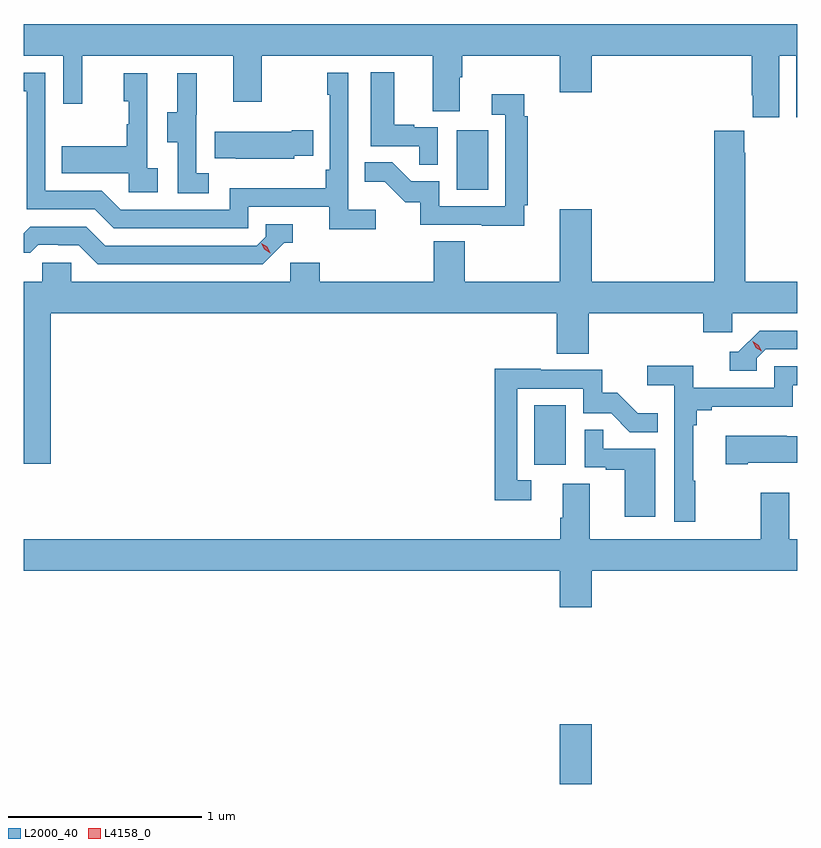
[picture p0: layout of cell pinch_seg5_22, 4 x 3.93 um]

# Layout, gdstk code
import gdstk
lib = gdstk.Library(unit=1e-6, precision=1e-09)
def R(c, l, rs):  # rectangles x0, y0, x1, y1
    for r in rs: c.add(gdstk.rectangle(r[:2], r[2:], *l))
def P(c, l, *ps):  # polygons
    for p in ps: c.add(gdstk.Polygon(p, *l))
L2000_40 = (2000, 40)
L4158_0 = (4158, 0)

pinch_seg5_22 = lib.new_cell('pinch_seg5_22')
R(pinch_seg5_22, L2000_40, [(1142.03,908.938,1142.194,909.247), (1141.898,910.59,1142.062,910.897), (1141.496,912.012,1141.66,912.319)])
P(pinch_seg5_22, L2000_40, [(1143.166,912.704),(1143.254,912.704),(1143.254,912.387),(1143.258,912.387),(1143.258,912.868),(1139.258,912.868),(1139.258,912.704),(1139.463,912.704),(1139.463,912.456),(1139.561,912.456),(1139.561,912.704),(1140.341,912.704),(1140.341,912.465),(1140.489,912.465),(1140.489,912.704),(1141.373,912.704),(1141.373,912.418),(1141.513,912.418),(1141.513,912.592),(1141.526,912.592),(1141.526,912.704),(1142.03,912.704),(1142.03,912.516),(1142.194,912.516),(1142.194,912.704),(1143.023,912.704),(1143.023,912.499),(1143.029,912.499),(1143.029,912.387),(1143.166,912.387)],
  [(1141.398,912.333),(1141.277,912.333),(1141.277,912.346),(1141.174,912.346),(1141.174,912.619),(1141.052,912.619),(1141.052,912.237),(1141.303,912.237),(1141.303,912.139),(1141.398,912.139)],
  [(1141.078,911.908),(1140.936,911.908),(1140.936,912.616),(1140.828,912.616),(1140.828,912.503),(1140.84,912.503),(1140.84,912.115),(1140.82,912.115),(1140.82,912.019),(1140.324,912.019),(1140.324,911.907),(1139.76,911.907),(1139.661,912.006),(1139.37,912.006),(1139.37,912.615),(1139.258,912.615),(1139.258,912.519),(1139.274,912.519),(1139.274,911.91),(1139.624,911.91),(1139.723,911.811),(1140.42,911.811),(1140.42,911.922),(1140.839,911.922),(1140.839,911.806),(1141.078,911.806)],
  [(1140.214,912.095),(1140.15,912.095),(1140.15,912.399),(1140.152,912.399),(1140.152,912.613),(1140.053,912.613),(1140.053,912.411),(1139.999,912.411),(1139.999,912.256),(1140.054,912.256),(1140.054,911.992),(1140.214,911.992)],
  [(1139.95,912.122),(1139.898,912.122),(1139.898,912.613),(1139.774,912.613),(1139.774,912.468),(1139.8,912.468),(1139.8,912.35),(1139.79,912.35),(1139.79,912.235),(1139.455,912.235),(1139.455,912.095),(1139.802,912.095),(1139.802,911.997),(1139.95,911.997)],
  [(1141.847,911.932),(1141.865,911.932),(1141.865,912.392),(1141.847,912.392),(1141.847,912.505),(1141.677,912.505),(1141.677,912.399),(1141.749,912.399),(1141.749,911.925),(1141.407,911.925),(1141.407,912.054),(1141.262,912.054),(1141.164,912.152),(1141.021,912.152),(1141.021,912.053),(1141.125,912.053),(1141.232,911.946),(1141.309,911.946),(1141.309,911.829),(1141.627,911.829),(1141.627,911.824),(1141.847,911.824)],
  [(1140.657,912.188),(1140.755,912.188),(1140.755,912.318),(1140.644,912.318),(1140.644,912.31),(1140.247,912.31),(1140.247,912.173),(1140.355,912.173),(1140.355,912.17),(1140.657,912.17)],
  [(1139.355,911.536),(1139.258,911.536),(1139.258,910.593),(1139.399,910.593),(1139.399,911.372),(1142.015,911.372),(1142.015,911.164),(1142.18,911.164),(1142.18,911.372),(1142.771,911.372),(1142.771,911.274),(1142.922,911.274),(1142.922,911.372),(1143.258,911.372),(1143.258,911.536),(1142.988,911.536),(1142.988,912.203),(1142.983,912.203),(1142.983,912.316),(1142.828,912.316),(1142.828,911.536),(1142.194,911.536),(1142.194,911.911),(1142.03,911.911),(1142.03,911.536),(1141.539,911.536),(1141.539,911.744),(1141.379,911.744),(1141.379,911.536),(1140.788,911.536),(1140.788,911.634),(1140.636,911.634),(1140.636,911.536),(1139.505,911.536),(1139.505,911.634),(1139.355,911.634)],
  [(1140.606,911.736),(1140.649,911.736),(1140.649,911.832),(1140.51,911.832),(1140.51,911.769),(1140.462,911.721),(1139.679,911.721),(1139.58,911.82),(1139.291,911.82),(1139.258,911.787),(1139.258,911.685),(1139.291,911.685),(1139.333,911.727),(1139.436,911.727),(1139.436,911.724),(1139.543,911.724),(1139.642,911.625),(1140.495,911.625)],
  [(1143.048,911.139),(1143.096,911.187),(1143.258,911.187),(1143.258,911.283),(1143.063,911.283),(1142.952,911.172),(1142.909,911.172),(1142.909,911.076),(1143.048,911.076)],
  [(1142.731,910.505),(1142.719,910.505),(1142.719,910.793),(1142.738,910.793),(1142.738,910.87),(1142.815,910.87),(1142.815,910.889),(1143.234,910.889),(1143.234,911.001),(1143.258,911.001),(1143.258,911.097),(1143.138,911.097),(1143.138,910.986),(1142.72,910.986),(1142.72,911.102),(1142.481,911.102),(1142.481,911),(1142.622,911),(1142.622,910.293),(1142.731,910.293)],
  [(1141.882,910.509),(1141.809,910.509),(1141.809,910.983),(1142.151,910.983),(1142.151,910.854),(1142.295,910.854),(1142.393,910.756),(1142.537,910.756),(1142.537,910.855),(1142.433,910.855),(1142.326,910.962),(1142.25,910.962),(1142.25,911.079),(1141.931,911.079),(1141.931,911.084),(1141.693,911.084),(1141.693,910.404),(1141.882,910.404)],
  [(1142.524,910.671),(1142.255,910.671),(1142.255,910.769),(1142.16,910.769),(1142.16,910.575),(1142.267,910.575),(1142.267,910.563),(1142.366,910.563),(1142.366,910.32),(1142.524,910.32)],
  [(1143.001,910.598),(1143.258,910.598),(1143.258,910.735),(1143.203,910.735),(1143.203,910.738),(1142.889,910.738),(1142.889,910.591),(1143.001,910.591)],
  [(1142.194,910.04),(1143.258,910.04),(1143.258,910.204),(1143.217,910.204),(1143.217,910.444),(1143.07,910.444),(1143.07,910.204),(1142.185,910.204),(1142.185,910.49),(1142.045,910.49),(1142.045,910.316),(1142.033,910.316),(1142.033,910.204),(1139.258,910.204),(1139.258,910.04),(1142.03,910.04),(1142.03,909.852),(1142.194,909.852)])
P(pinch_seg5_22, L4158_0, [(1140.533,911.683),(1140.502,911.702),(1140.486,911.735),(1140.486,911.735),(1140.486,911.735),(1140.517,911.716),(1140.534,911.684),(1140.534,911.683)],
  [(1143.074,911.175),(1143.044,911.195),(1143.028,911.228),(1143.028,911.228),(1143.028,911.228),(1143.059,911.208),(1143.074,911.175),(1143.074,911.175)])

lib.write_gds('pinch_seg5_22.gds')
